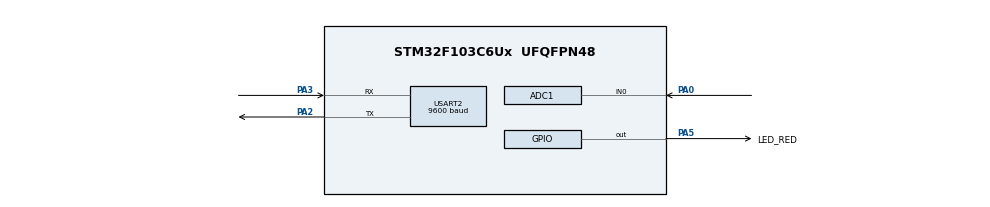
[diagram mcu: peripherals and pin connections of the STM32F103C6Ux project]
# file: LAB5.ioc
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ADC1.Channel-0\#ChannelRegularConversion=ADC_CHANNEL_0
ADC1.ContinuousConvMode=ENABLE
ADC1.NbrOfConversionFlag=1
ADC1.Rank-0\#ChannelRegularConversion=1
ADC1.SamplingTime-0\#ChannelRegularConversion=ADC_SAMPLETIME_1CYCLE_5
ADC1.master=1
Mcu.Family=STM32F1
Mcu.Name=STM32F103C6Ux
Mcu.Package=UFQFPN48
NVIC.PriorityGroup=NVIC_PRIORITYGROUP_4
NVIC.TIM2_IRQn=true\:0\:0\:false\:false\:true\:true\:true
NVIC.USART2_IRQn=true\:0\:0\:false\:false\:true\:true\:true
PA0-WKUP.Signal=ADCx_IN0
PA2.Mode=Asynchronous
PA2.Signal=USART2_TX
PA3.Mode=Asynchronous
PA3.Signal=USART2_RX
PA5.GPIO_Label=LED_RED
PA5.Signal=GPIO_Output
PA6.Signal=S_TIM3_CH1
ProjectManager.HeapSize=0x200
ProjectManager.StackSize=0x400
ProjectManager.TargetToolchain=STM32CubeIDE
RCC.APB1Freq_Value=8000000
RCC.APB2Freq_Value=8000000
SH.ADCx_IN0.0=ADC1_IN0,IN0
SH.S_TIM3_CH1.0=TIM3_CH1
TIM2.Period=10
TIM2.Prescaler=7999
USART2.BaudRate=9600
USART2.VirtualMode=VM_ASYNC
VP_SYS_VS_ND.Mode=No_Debug
VP_TIM2_VS_ClockSourceINT.Mode=Internal
board=custom

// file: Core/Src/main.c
/* USER CODE BEGIN Header */
/**
  ******************************************************************************
  * @file           : main.c
  * @brief          : Main program body
  ******************************************************************************
  * @attention
  *
  * <h2><center>&copy; Copyright (c) 2022 STMicroelectronics.
  * All rights reserved.</center></h2>
  *
  * This software component is licensed by ST under BSD 3-Clause license,
  * the "License"; You may not use this file except in compliance with the
  * License. You may obtain a copy of the License at:
  *                        opensource.org/licenses/BSD-3-Clause
  *
  ******************************************************************************
  */
/* USER CODE END Header */
#include <command_fsm.h>
#include "main.h"

/* USER CODE BEGIN Includes */
#include "uart_fsm.h"
#include "timer.h"
#include "command_fsm.h"

/* USER CODE END Includes */

ADC_HandleTypeDef hadc1;

TIM_HandleTypeDef htim2;

UART_HandleTypeDef huart2;

void SystemClock_Config(void);
static void MX_GPIO_Init(void);
static void MX_ADC1_Init(void);
static void MX_USART2_UART_Init(void);
static void MX_TIM2_Init(void);

int main(void)
{

  /* MCU Configuration--------------------------------------------------------*/

  /* Reset of all peripherals, Initializes the Flash interface and the Systick. */

  /* USER CODE BEGIN Init */
HAL_Init();
SystemClock_Config();
MX_GPIO_Init();
MX_ADC1_Init();
MX_USART2_UART_Init();
MX_TIM2_Init();
HAL_ADC_Start(&hadc1);
HAL_TIM_Base_Start_IT(&htim2);
HAL_UART_Receive_IT(&huart2,&temp,1);
setTimer0(10);
  /* USER CODE END Init */
  while (1)
  {
	 if(timer0_flag==1){
			  HAL_GPIO_TogglePin(LED_RED_GPIO_Port, LED_RED_Pin);
			  setTimer0(1000);
		  }
	  if(buffer_flag == 1) {
	 		  command_parser() ;
	 		  buffer_flag = 0;
	  }
	 UART_FSM();

    /* USER CODE END WHILE */

  }
}

void SystemClock_Config(void)
{
  RCC_OscInitTypeDef RCC_OscInitStruct = {0};
  RCC_ClkInitTypeDef RCC_ClkInitStruct = {0};
  RCC_PeriphCLKInitTypeDef PeriphClkInit = {0};

  /** Initializes the RCC Oscillators according to the specified parameters
  * in the RCC_OscInitTypeDef structure.
  */
  RCC_OscInitStruct.OscillatorType = RCC_OSCILLATORTYPE_HSI;
  RCC_OscInitStruct.HSIState = RCC_HSI_ON;
  RCC_OscInitStruct.HSICalibrationValue = RCC_HSICALIBRATION_DEFAULT;
  RCC_OscInitStruct.PLL.PLLState = RCC_PLL_NONE;
  if (HAL_RCC_OscConfig(&RCC_OscInitStruct) != HAL_OK)
  {
    Error_Handler();
  }
  /** Initializes the CPU, AHB and APB buses clocks
  */
  RCC_ClkInitStruct.ClockType = RCC_CLOCKTYPE_HCLK|RCC_CLOCKTYPE_SYSCLK
                              |RCC_CLOCKTYPE_PCLK1|RCC_CLOCKTYPE_PCLK2;
  RCC_ClkInitStruct.SYSCLKSource = RCC_SYSCLKSOURCE_HSI;
  RCC_ClkInitStruct.AHBCLKDivider = RCC_SYSCLK_DIV1;
  RCC_ClkInitStruct.APB1CLKDivider = RCC_HCLK_DIV1;
  RCC_ClkInitStruct.APB2CLKDivider = RCC_HCLK_DIV1;

  if (HAL_RCC_ClockConfig(&RCC_ClkInitStruct, FLASH_LATENCY_0) != HAL_OK)
  {
    Error_Handler();
  }
  PeriphClkInit.PeriphClockSelection = RCC_PERIPHCLK_ADC;
  PeriphClkInit.AdcClockSelection = RCC_ADCPCLK2_DIV2;
  if (HAL_RCCEx_PeriphCLKConfig(&PeriphClkInit) != HAL_OK)
  {
    Error_Handler();
  }
}

static void MX_ADC1_Init(void)
{

  ADC_ChannelConfTypeDef sConfig = {0};

  /** Common config
  */
  hadc1.Instance = ADC1;
  hadc1.Init.ScanConvMode = ADC_SCAN_DISABLE;
  hadc1.Init.ContinuousConvMode = ENABLE;
  hadc1.Init.DiscontinuousConvMode = DISABLE;
  hadc1.Init.ExternalTrigConv = ADC_SOFTWARE_START;
  hadc1.Init.DataAlign = ADC_DATAALIGN_RIGHT;
  hadc1.Init.NbrOfConversion = 1;
  if (HAL_ADC_Init(&hadc1) != HAL_OK)
  {
    Error_Handler();
  }
  /** Configure Regular Channel
  */
  sConfig.Channel = ADC_CHANNEL_0;
  sConfig.Rank = ADC_REGULAR_RANK_1;
  sConfig.SamplingTime = ADC_SAMPLETIME_1CYCLE_5;
  if (HAL_ADC_ConfigChannel(&hadc1, &sConfig) != HAL_OK)
  {
    Error_Handler();
  }

}

static void MX_TIM2_Init(void)
{

  TIM_ClockConfigTypeDef sClockSourceConfig = {0};
  TIM_MasterConfigTypeDef sMasterConfig = {0};

  htim2.Instance = TIM2;
  htim2.Init.Prescaler = 7999;
  htim2.Init.CounterMode = TIM_COUNTERMODE_UP;
  htim2.Init.Period = 10;
  htim2.Init.ClockDivision = TIM_CLOCKDIVISION_DIV1;
  htim2.Init.AutoReloadPreload = TIM_AUTORELOAD_PRELOAD_DISABLE;
  if (HAL_TIM_Base_Init(&htim2) != HAL_OK)
  {
    Error_Handler();
  }
  sClockSourceConfig.ClockSource = TIM_CLOCKSOURCE_INTERNAL;
  if (HAL_TIM_ConfigClockSource(&htim2, &sClockSourceConfig) != HAL_OK)
  {
    Error_Handler();
  }
  sMasterConfig.MasterOutputTrigger = TIM_TRGO_RESET;
  sMasterConfig.MasterSlaveMode = TIM_MASTERSLAVEMODE_DISABLE;
  if (HAL_TIMEx_MasterConfigSynchronization(&htim2, &sMasterConfig) != HAL_OK)
  {
    Error_Handler();
  }

}

static void MX_USART2_UART_Init(void)
{

  huart2.Instance = USART2;
  huart2.Init.BaudRate = 9600;
  huart2.Init.WordLength = UART_WORDLENGTH_8B;
  huart2.Init.StopBits = UART_STOPBITS_1;
  huart2.Init.Parity = UART_PARITY_NONE;
  huart2.Init.Mode = UART_MODE_TX_RX;
  huart2.Init.HwFlowCtl = UART_HWCONTROL_NONE;
  huart2.Init.OverSampling = UART_OVERSAMPLING_16;
  if (HAL_UART_Init(&huart2) != HAL_OK)
  {
    Error_Handler();
  }

}

static void MX_GPIO_Init(void)
{
  GPIO_InitTypeDef GPIO_InitStruct = {0};

  /* GPIO Ports Clock Enable */
  __HAL_RCC_GPIOA_CLK_ENABLE();

  /*Configure GPIO pin Output Level */
  HAL_GPIO_WritePin(LED_RED_GPIO_Port, LED_RED_Pin, GPIO_PIN_RESET);

  /*Configure GPIO pin : LED_RED_Pin */
  GPIO_InitStruct.Pin = LED_RED_Pin;
  GPIO_InitStruct.Mode = GPIO_MODE_OUTPUT_PP;
  GPIO_InitStruct.Pull = GPIO_NOPULL;
  GPIO_InitStruct.Speed = GPIO_SPEED_FREQ_LOW;
  HAL_GPIO_Init(LED_RED_GPIO_Port, &GPIO_InitStruct);

  /*Configure GPIO pin : PA6 */
  GPIO_InitStruct.Pin = GPIO_PIN_6;
  GPIO_InitStruct.Mode = GPIO_MODE_AF_PP;
  GPIO_InitStruct.Speed = GPIO_SPEED_FREQ_LOW;
  HAL_GPIO_Init(GPIOA, &GPIO_InitStruct);

}

/* USER CODE BEGIN 4 */
void HAL_TIM_PeriodElapsedCallback(TIM_HandleTypeDef* htim ) {
		timer_run();
		timer_run1();
}
/* USER CODE END 4 */

void Error_Handler(void)
{
  __disable_irq();
  while (1)
  {
  }
}

/************************ (C) COPYRIGHT STMicroelectronics *****END OF FILE****/
